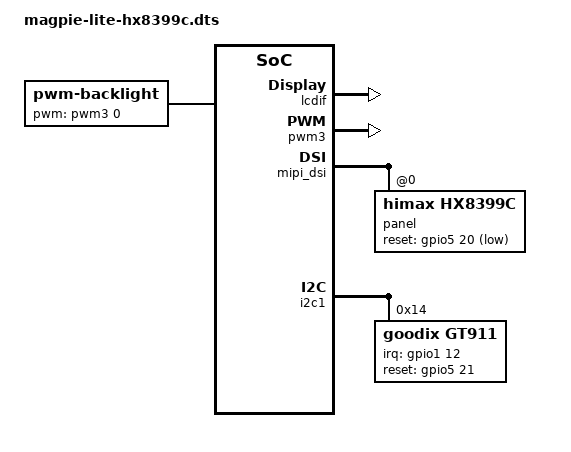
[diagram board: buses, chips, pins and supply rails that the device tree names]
#include "magpie-lite.dts"

/ {
    backlight {
		compatible = "pwm-backlight";
		pwms = <&pwm3 0 100000>;
		default-brightness-level = <4095>;
        num-interpolated-steps = <1>;
		status = "okay";
	};
};

&lcdif {
       status = "okay";
};

&pwm3 {
    pinctrl-names = "default";
    pinctrl-0 = <&pinctrl_pwm3>;
    status = "okay";
};

&mipi_dsi {
    status = "okay";
    panel@0 {
        compatible = "himax,hx8399c";
        reg = <0>;
        pinctrl-0 = <&pinctrl_hx8399c_en>;
        reset-gpio = <&gpio5 20 GPIO_ACTIVE_LOW>;
        dsi-lanes = <4>;
        video-mode = <2>;   /* 0: burst mode
                     * 1: non-burst mode with sync event
                     * 2: non-burst mode with sync pulse
                     * 3: command mode
                     */
        panel-width-mm = <68>;
        panel-height-mm = <121>;
        status = "okay";
    };
};

&i2c1 {
    gt911@14 {
        compatible = "goodix,gt911";
        reg = <0x14>;
        pinctrl-names = "default";
        pinctrl-0 = <&pinctrl_goodix_tp>;
        interrupt-parent = <&gpio1>;
        interrupts = <12 IRQ_TYPE_EDGE_FALLING>;
        irq-gpios = <&gpio1 12 GPIO_ACTIVE_HIGH>;
        reset-gpios = <&gpio5 21 GPIO_ACTIVE_HIGH>;
        touchscreen-size-x = <1080>;
        touchscreen-size-y = <1920>;
        status = "okay";
    };
};



&iomuxc {
    pinctrl_pwm3: pwm3grp {
        fsl,pins = <
            MX8MM_IOMUXC_SPDIF_TX_PWM3_OUT        0x00
        >;
    };

    pinctrl_hx8399c_en: hx8399c_en_iogrp {
        fsl,pins = <
            MX8MM_IOMUXC_I2C4_SCL_GPIO5_IO20    0x16
        >;
    };

    pinctrl_goodix_tp: goodix_tp_iogrp {
        fsl,pins = <
            MX8MM_IOMUXC_GPIO1_IO12_GPIO1_IO12  0x19
            MX8MM_IOMUXC_I2C4_SDA_GPIO5_IO21    0xb6
        >;
    };
};
